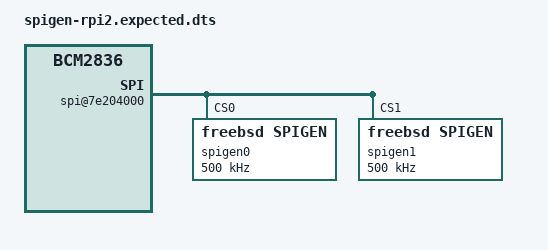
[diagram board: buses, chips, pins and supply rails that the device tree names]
/dts-v1/;

/  {

	compatible = "brcm,bcm2836";
	fragment@0 {

		target-path = "/soc/spi@7e204000";
		__overlay__ {

			status = "okay";
			spigen0 {

				compatible = "freebsd,spigen";
				reg = <0x0>;
				spi-max-frequency = <0x7a120>;
				status = "okay";
				phandle = <0x1>;
			};
			spigen1 {

				compatible = "freebsd,spigen";
				reg = <0x1>;
				spi-max-frequency = <0x7a120>;
				status = "okay";
				phandle = <0x2>;
			};
		};
	};
	fragment@1 {

		target-path = "/soc/gpio@7e200000/spi0_cs_pins";
		__overlay__ {

			brcm,pins = <0x8 0x7>;
			brcm,function = <0x4>;
		};
	};
	__symbols__ {

		spigen1 = "/fragment@0/__overlay__/spigen1";
		spigen0 = "/fragment@0/__overlay__/spigen0";
	};
};
